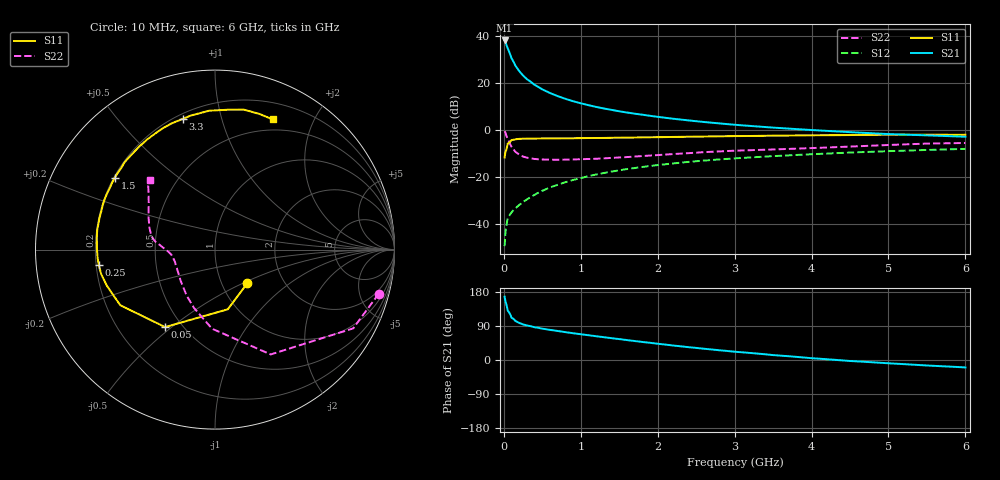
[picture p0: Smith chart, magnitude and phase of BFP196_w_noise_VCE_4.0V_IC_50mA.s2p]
! Infineon Technologies  Discrete & RF Semiconductors
! BFP196
! VCE =  4.0 V,  IC =  50 mA
! Common Emitter S-Parameters:  Jan 2017
# GHz  S  MA  R  50
!  f  S11  S21  S12  S22
! GHz  MAG  ANG  MAG  ANG  MAG  ANG  MAG  ANG
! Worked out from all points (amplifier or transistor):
!   77 points, 10 MHz to 6 GHz, reference 50 ohm
!   highest |S21| = 38.1 dB at 10 MHz (marker M1)
!   |S21| within 3 dB of that: start of sweep to 46.17 MHz
!   unconditionally stable (mu >= 1): 537.9 MHz to 2.384 GHz
!   at 130 MHz: K = 0.63, MSG = 31.3 dB, |S12| = -33.9 dB
!   at 2.2 GHz: K = 1.01, MAG = 8.9 dB, |S12| = -14.2 dB
!   at 6 GHz: K = 0.95, MSG = 2.6 dB, |S12| = -8.0 dB
!   lowest NFmin = 1.45 dB at 450 MHz
!   S11 on the Smith chart (normalised r, x): 10 MHz: 1.32, -0.53; 50 MHz: 0.40, -0.47; 250 MHz: 0.21, -0.06; 1.5 GHz: 0.20, +0.31; 3.3 GHz: 0.23, +0.76; 6 GHz: 0.38, +1.47
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0.01  0.2602 -46.4  80.13 167.0  0.0034 77.2  0.9447 -15.1
0.02  0.3401 -77.9  75.62 155.5  0.0064 72.2  0.8863 -29.7
0.05  0.5136 -122.8  54.65 130.6  0.0132 55.1  0.6615 -62.0
0.1  0.6122 -149.6  33.5 111.8  0.0178 52.7  0.4412 -92.1
0.15  0.6352 -161.5  23.38 103.2  0.0217 54.6  0.3456 -109.8
0.2  0.6489 -168.0  17.86 97.8  0.0255 57.8  0.2998 -122.0
0.25  0.6535 -172.7  14.4 93.9  0.0297 59.3  0.2727 -130.7
0.3  0.6558 -176.1  12.07 91.1  0.0334 61.6  0.2582 -137.9
0.4  0.6586 178.6  9.128 86.4  0.0421 64.9  0.2426 -147.4
0.5  0.6622 174.1  7.312 82.7  0.0511 66.2  0.2364 -154.0
0.6  0.6654 170.4  6.123 79.5  0.0601 66.4  0.2349 -159.0
0.7  0.6653 167.5  5.251 76.6  0.0685 66.8  0.2331 -162.8
0.9  0.6687 161.1  4.095 70.7  0.0867 65.5  0.2369 -167.8
1.1  0.6762 155.3  3.376 65.4  0.1047 63.9  0.2424 -171.8
1.5  0.6872 144.3  2.502 55.2  0.1392 59.3  0.2611 -177.6
2.1  0.7081 128.6  1.821 40.7  0.1873 51.2  0.301 176.2
2.6  0.7275 117.3  1.482 29.7  0.2238 44.3  0.3386 171.9
3.1  0.745 107.3  1.258 20.3  0.2552 37.7  0.3681 166.2
3.3  0.7506 103.7  1.19 16.9  0.2668 35.2  0.3771 163.6
4.1  0.7751 90.8  0.98 3.4  0.3113 25.4  0.4191 152.1
5.1  0.7951 77.1  0.81 -9.8  0.3597 13.7  0.4876 139.4
6  0.7933 66.1  0.72 -19.6  0.3972 3.7  0.5305 132.7
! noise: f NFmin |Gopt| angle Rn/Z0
0.45  1.45  0.4  -176  0.06
0.9  1.6  0.47  -164  0.08
1.9  2.42  0.68  -132  0.32
2.4  2.82  0.7  -119  0.66
